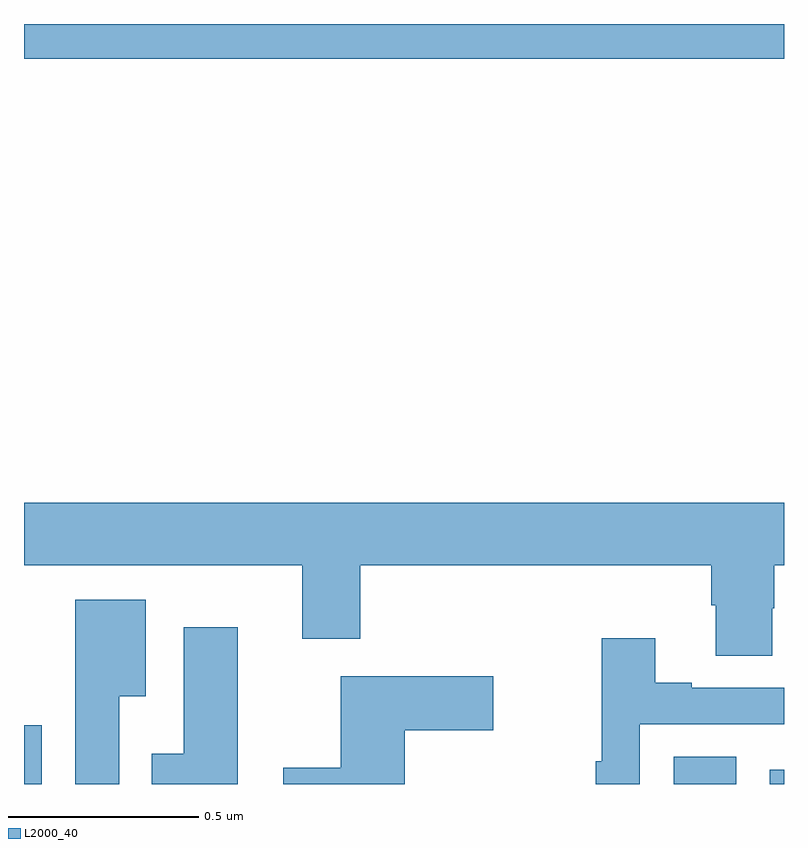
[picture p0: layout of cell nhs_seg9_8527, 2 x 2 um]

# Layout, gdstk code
import gdstk
lib = gdstk.Library(unit=1e-6, precision=1e-09)
def R(c, l, rs):  # rectangles x0, y0, x1, y1
    for r in rs: c.add(gdstk.rectangle(r[:2], r[2:], *l))
def P(c, l, *ps):  # polygons
    for p in ps: c.add(gdstk.Polygon(p, *l))
L2000_40 = (2000, 40)

nhs_seg9_8527 = lib.new_cell('nhs_seg9_8527')
R(nhs_seg9_8527, L2000_40, [(218,1206.5,218.047,1206.655), (219.71,1206.5,219.874,1206.572), (219.962,1206.5,220,1206.538), (218,1208.408,220,1208.5)])
P(nhs_seg9_8527, L2000_40, [(219.969,1206.963),(219.974,1206.963),(219.974,1207.076),(220,1207.076),(220,1207.24),(218,1207.24),(218,1207.076),(218.732,1207.076),(218.732,1206.882),(218.885,1206.882),(218.885,1207.076),(219.809,1207.076),(219.809,1206.97),(219.821,1206.97),(219.821,1206.838),(219.969,1206.838)],
  [(218.251,1206.731),(218.32,1206.731),(218.32,1206.985),(218.135,1206.985),(218.135,1206.5),(218.251,1206.5)],
  [(218.563,1206.913),(218.42,1206.913),(218.42,1206.58),(218.336,1206.58),(218.336,1206.5),(218.563,1206.5)],
  [(219.621,1206.657),(220,1206.657),(220,1206.753),(219.757,1206.753),(219.757,1206.766),(219.661,1206.766),(219.661,1206.883),(219.52,1206.883),(219.52,1206.56),(219.505,1206.56),(219.505,1206.5),(219.621,1206.5)],
  [(219.002,1206.641),(219.235,1206.641),(219.235,1206.783),(218.834,1206.783),(218.834,1206.543),(218.682,1206.543),(218.682,1206.5),(219.002,1206.5)])

lib.write_gds('nhs_seg9_8527.gds')
